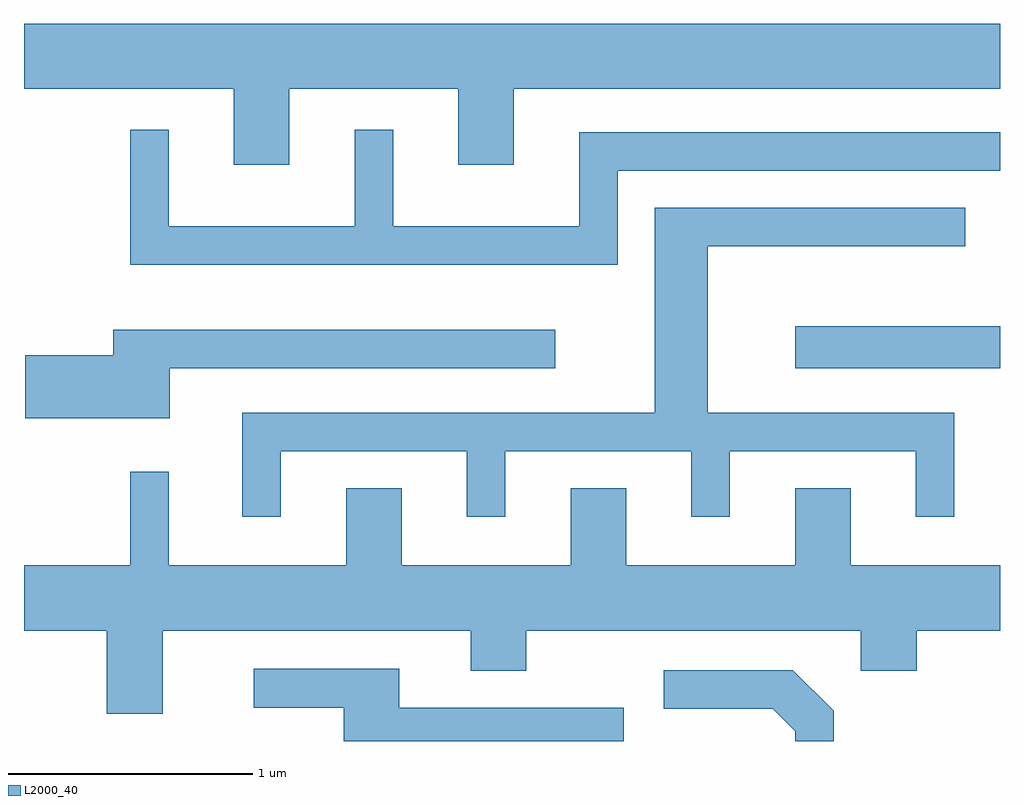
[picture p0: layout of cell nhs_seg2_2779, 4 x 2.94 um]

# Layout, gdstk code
import gdstk
lib = gdstk.Library(unit=1e-6, precision=1e-09)
def R(c, l, rs):  # rectangles x0, y0, x1, y1
    for r in rs: c.add(gdstk.rectangle(r[:2], r[2:], *l))
def P(c, l, *ps):  # polygons
    for p in ps: c.add(gdstk.Polygon(p, *l))
L2000_40 = (2000, 40)

nhs_seg2_2779 = lib.new_cell('nhs_seg2_2779')
R(nhs_seg2_2779, L2000_40, [(268.771,1109.331,269.611,1109.504)])
P(nhs_seg2_2779, L2000_40, [(266.699,1110.476),(267.391,1110.476),(267.391,1110.166),(267.619,1110.166),(267.619,1110.476),(269.611,1110.476),(269.611,1110.744),(265.611,1110.744),(265.611,1110.476),(266.471,1110.476),(266.471,1110.166),(266.699,1110.166)],
  [(268.044,1110.141),(269.611,1110.141),(269.611,1110.299),(267.886,1110.299),(267.886,1109.914),(267.124,1109.914),(267.124,1110.308),(266.966,1110.308),(266.966,1109.914),(266.204,1109.914),(266.204,1110.308),(266.046,1110.308),(266.046,1109.756),(268.044,1109.756)],
  [(266.664,1108.991),(267.426,1108.991),(267.426,1108.723),(267.584,1108.723),(267.584,1108.991),(268.346,1108.991),(268.346,1108.723),(268.504,1108.723),(268.504,1108.991),(269.266,1108.991),(269.266,1108.723),(269.424,1108.723),(269.424,1109.149),(268.414,1109.149),(268.414,1109.831),(269.468,1109.831),(269.468,1109.989),(268.196,1109.989),(268.196,1109.149),(266.506,1109.149),(266.506,1108.723),(266.664,1108.723)],
  [(266.209,1109.331),(267.788,1109.331),(267.788,1109.489),(265.976,1109.489),(265.976,1109.384),(265.616,1109.384),(265.616,1109.126),(266.209,1109.126)],
  [(267.441,1108.091),(267.669,1108.091),(267.669,1108.256),(269.041,1108.256),(269.041,1108.091),(269.269,1108.091),(269.269,1108.256),(269.611,1108.256),(269.611,1108.524),(268.999,1108.524),(268.999,1108.839),(268.771,1108.839),(268.771,1108.524),(268.079,1108.524),(268.079,1108.839),(267.851,1108.839),(267.851,1108.524),(267.159,1108.524),(267.159,1108.839),(266.931,1108.839),(266.931,1108.524),(266.204,1108.524),(266.204,1108.908),(266.046,1108.908),(266.046,1108.524),(265.611,1108.524),(265.611,1108.256),(265.951,1108.256),(265.951,1107.916),(266.179,1107.916),(266.179,1108.256),(267.441,1108.256)],
  [(268.069,1107.939),(267.149,1107.939),(267.149,1108.099),(266.553,1108.099),(266.553,1107.941),(266.921,1107.941),(266.921,1107.802),(268.069,1107.802)],
  [(268.929,1107.927),(268.762,1108.094),(268.233,1108.094),(268.233,1107.936),(268.679,1107.936),(268.771,1107.844),(268.771,1107.802),(268.929,1107.802)])

lib.write_gds('nhs_seg2_2779.gds')
